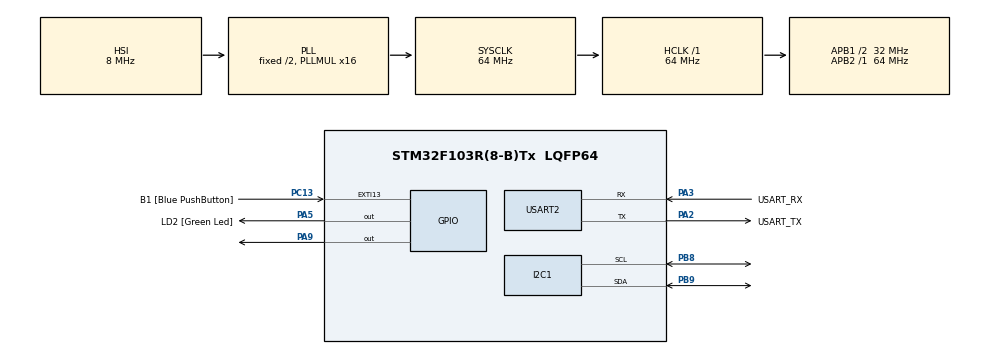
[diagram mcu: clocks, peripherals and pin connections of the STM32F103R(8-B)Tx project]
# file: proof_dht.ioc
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Mcu.Family=STM32F1
Mcu.Name=STM32F103R(8-B)Tx
Mcu.Package=LQFP64
NVIC.EXTI15_10_IRQn=true\:0\:0\:false\:false\:true\:true\:true\:true
NVIC.PriorityGroup=NVIC_PRIORITYGROUP_4
PA1.Signal=S_TIM2_CH2
PA13.GPIO_Label=TMS
PA13.Mode=Serial_Wire
PA13.Signal=SYS_JTMS-SWDIO
PA14.GPIO_Label=TCK
PA14.Mode=Serial_Wire
PA14.Signal=SYS_JTCK-SWCLK
PA2.GPIO_Label=USART_TX
PA2.GPIO_Mode=GPIO_MODE_AF_PP
PA2.GPIO_PuPd=GPIO_NOPULL
PA2.GPIO_Speed=GPIO_SPEED_FREQ_LOW
PA2.Mode=Asynchronous
PA2.Signal=USART2_TX
PA3.GPIO_Label=USART_RX
PA3.GPIO_Mode=GPIO_MODE_AF_PP
PA3.GPIO_PuPd=GPIO_NOPULL
PA3.GPIO_Speed=GPIO_SPEED_FREQ_LOW
PA3.Mode=Asynchronous
PA3.Signal=USART2_RX
PA5.GPIO_Label=LD2 [Green Led]
PA5.GPIO_ModeDefaultOutputPP=GPIO_MODE_OUTPUT_PP
PA5.GPIO_PuPd=GPIO_NOPULL
PA5.GPIO_Speed=GPIO_SPEED_FREQ_LOW
PA5.Signal=GPIO_Output
PA9.Signal=GPIO_Output
PB3.GPIO_Label=SWO
PB3.Signal=SYS_JTDO-TRACESWO
PB8.Mode=I2C
PB8.Signal=I2C1_SCL
PB9.Mode=I2C
PB9.Signal=I2C1_SDA
PC13-TAMPER-RTC.GPIO_Label=B1 [Blue PushButton]
PC13-TAMPER-RTC.GPIO_PuPd=GPIO_NOPULL
PC13-TAMPER-RTC.Signal=GPXTI13
PC14-OSC32_IN.Mode=LSE-External-Oscillator
PC14-OSC32_IN.Signal=RCC_OSC32_IN
PC15-OSC32_OUT.Mode=LSE-External-Oscillator
PC15-OSC32_OUT.Signal=RCC_OSC32_OUT
PD0-OSC_IN.Mode=HSE-External-Clock-Source
PD0-OSC_IN.Signal=RCC_OSC_IN
PD1-OSC_OUT.Mode=HSE-External-Clock-Source
PD1-OSC_OUT.Signal=RCC_OSC_OUT
ProjectManager.HeapSize=0x200
ProjectManager.StackSize=0x400
ProjectManager.TargetToolchain=STM32CubeIDE
RCC.AHBFreq_Value=64000000
RCC.APB1CLKDivider=RCC_HCLK_DIV2
RCC.APB1Freq_Value=32000000
RCC.APB1TimFreq_Value=64000000
RCC.APB2Freq_Value=64000000
RCC.APB2TimFreq_Value=64000000
RCC.HCLKFreq_Value=64000000
RCC.PLLMUL=RCC_PLL_MUL16
RCC.RTCClockSelection=RCC_RTCCLKSOURCE_LSE
RCC.SYSCLKFreq_VALUE=64000000
RCC.SYSCLKSource=RCC_SYSCLKSOURCE_PLLCLK
RCC.USBFreq_Value=64000000
SH.S_TIM2_CH2.0=TIM2_CH2
TIM1.Prescaler=64-1
USART2.VirtualMode=VM_ASYNC
VP_TIM1_VS_ClockSourceINT.Mode=Internal
board=NUCLEO-F103RB

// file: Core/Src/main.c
/* USER CODE BEGIN Header */
/**
  ******************************************************************************
  * @file           : main.c
  * @brief          : Main program body
  ******************************************************************************
  * @attention
  *
  * Copyright (c) 2026 STMicroelectronics.
  * All rights reserved.
  *
  * This software is licensed under terms that can be found in the LICENSE file
  * in the root directory of this software component.
  * If no LICENSE file comes with this software, it is provided AS-IS.
  *
  ******************************************************************************
  */
/* USER CODE END Header */
#include "main.h"
#include "stdio.h"

#include "liquidcrystal_i2c.h"
#include "stm32f1xx_hal.h"

I2C_HandleTypeDef hi2c1;

TIM_HandleTypeDef htim1;

UART_HandleTypeDef huart2;

void SystemClock_Config(void);
static void MX_GPIO_Init(void);
static void MX_USART2_UART_Init(void);
static void MX_I2C1_Init(void);
static void MX_TIM1_Init(void);

/* USER CODE BEGIN 0 */

#define DHT22_PORT GPIOA
#define DHT22_PIN GPIO_PIN_9

void delay (uint16_t time)
{
	/* change your code here for the delay in microseconds */
	__HAL_TIM_SET_COUNTER(&htim1, 0);
	while ((__HAL_TIM_GET_COUNTER(&htim1))<time);
}

void Set_Pin_Output(GPIO_TypeDef *GPIOx, uint16_t GPIO_Pin){
    GPIO_InitTypeDef GPIO_InitStruct = {0};
    GPIO_InitStruct.Pin = GPIO_Pin;
    GPIO_InitStruct.Mode = GPIO_MODE_OUTPUT_OD;  // OPEN DRAIN
    GPIO_InitStruct.Speed = GPIO_SPEED_FREQ_LOW;
    GPIO_InitStruct.Pull = GPIO_NOPULL;
    HAL_GPIO_Init(GPIOx, &GPIO_InitStruct);
}

void Set_Pin_Input(GPIO_TypeDef *GPIOx, uint16_t GPIO_Pin){
    GPIO_InitTypeDef GPIO_InitStruct = {0};
    GPIO_InitStruct.Pin = GPIO_Pin;
    GPIO_InitStruct.Mode = GPIO_MODE_INPUT;
    GPIO_InitStruct.Pull = GPIO_PULLUP;  // Pull-up para open-drain
    HAL_GPIO_Init(GPIOx, &GPIO_InitStruct);
}

void DHT22_Start (void)
{
	Set_Pin_Output(DHT22_PORT, DHT22_PIN);
	HAL_GPIO_WritePin(DHT22_PORT, DHT22_PIN, 0);
	HAL_Delay(20);              // Host baja 20ms

	HAL_GPIO_WritePin(DHT22_PORT, DHT22_PIN, 1);
	delay(5);                   // Pequeño delay en OUTPUT
	Set_Pin_Input(DHT22_PORT, DHT22_PIN);  // ✅ INPUT INMEDIATAMENTE
	delay(25);                  // Espera a respuesta en INPUT
}

uint8_t DHT22_Check_Response(void)
{
	uint8_t Response = 0;
	uint32_t timeout = 0;

	// Esperar pin LOW (sensor responding)
	timeout = 0;
	while ((HAL_GPIO_ReadPin(DHT22_PORT, DHT22_PIN)) && timeout < 200) {
		timeout++;
		delay(5);
	}

	if (timeout >= 200) {
		return 0;  // Sin respuesta
	}

	// Pin está LOW, esperar 80µs
	delay(80);

	// Sensor debe soltar el pin (ir a HIGH)
	if ((HAL_GPIO_ReadPin(DHT22_PORT, DHT22_PIN))) {
		Response = 1;  // ✅ OK
	} else {
		Response = -1;  // Error
	}

	// Sincronizar: esperar a que pin vuelva a LOW
	timeout = 0;
	while ((HAL_GPIO_ReadPin(DHT22_PORT, DHT22_PIN)) && timeout < 1000) {
		timeout++;
		delay(1);
	}

	return Response;
}

uint8_t DHT22_Read (void)
{
	uint8_t i = 0, j = 0;
	for (j=0;j<8;j++)
	{
		while (!(HAL_GPIO_ReadPin (DHT22_PORT, DHT22_PIN)));   // wait for the pin to go high
		delay(40);   // wait for 40 us

		if (!(HAL_GPIO_ReadPin (DHT22_PORT, DHT22_PIN)))   // if the pin is low
		{
			i&= ~(1<<(7-j));   // write 0
		}
		else i|= (1<<(7-j));  // if the pin is high, write 1
		while ((HAL_GPIO_ReadPin (DHT22_PORT, DHT22_PIN)));  // wait for the pin to go low
	}

	return i;
}

uint8_t Presence = 0;
uint8_t CheckSum = 0;
uint8_t pin_state;
uint8_t Rh_byte1, Rh_byte2, Temp_byte1, Temp_byte2;
uint16_t SUM, TEMP, RH;
float Temperature = 0;
float Humidity = 0;

/* USER CODE END 0 */

int main(void)
{

  /* MCU Configuration--------------------------------------------------------*/

  /* Reset of all peripherals, Initializes the Flash interface and the Systick. */
  HAL_Init();

  /* Configure the system clock */
  SystemClock_Config();

  /* Initialize all configured peripherals */
  MX_GPIO_Init();
  MX_USART2_UART_Init();
  MX_I2C1_Init();
  MX_TIM1_Init();
  /* USER CODE BEGIN 2 */

  HAL_TIM_Base_Start(&htim1);
  //HD44780_Init(2);
  //HD44780_Clear();
  //HD44780_Backlight();
  // Después de configurar GPIOA
  // El pin PA9 debe poder leerse como HIGH (por el pull-up) al inicio
  pin_state = HAL_GPIO_ReadPin(GPIOA, GPIO_PIN_9);
  // pin_state debe ser 1 (HIGH)
  /* USER CODE END 2 */

  /* Infinite loop */
  while (1)
  {
      DHT22_Start();
      Presence = DHT22_Check_Response();

      if (Presence != 1) {
          // El sensor no respondió - reintentar
          HAL_Delay(500);
          continue;
      }

      Rh_byte1 = DHT22_Read ();
      Rh_byte2 = DHT22_Read ();
      Temp_byte1 = DHT22_Read ();
      Temp_byte2 = DHT22_Read ();
      SUM = DHT22_Read();

      CheckSum = Rh_byte1 + Rh_byte2 + Temp_byte1 + Temp_byte2;
      if (SUM != CheckSum) {
          HAL_Delay(500);
          continue;  // Datos inválidos, reintentar
      }

      TEMP = ((Temp_byte1<<8)|Temp_byte2);
      RH = ((Rh_byte1<<8)|Rh_byte2);

      Temperature = (float) (TEMP/10.0);
      Humidity = (float) (RH/10.0);

      HAL_Delay(2000);

      //Display_Temp(Temperature);
      //Display_Rh(Humidity);
  }
}

void SystemClock_Config(void)
{
  RCC_OscInitTypeDef RCC_OscInitStruct = {0};
  RCC_ClkInitTypeDef RCC_ClkInitStruct = {0};

  /** Initializes the RCC Oscillators according to the specified parameters
  * in the RCC_OscInitTypeDef structure.
  */
  RCC_OscInitStruct.OscillatorType = RCC_OSCILLATORTYPE_HSI;
  RCC_OscInitStruct.HSIState = RCC_HSI_ON;
  RCC_OscInitStruct.HSICalibrationValue = RCC_HSICALIBRATION_DEFAULT;
  RCC_OscInitStruct.PLL.PLLState = RCC_PLL_ON;
  RCC_OscInitStruct.PLL.PLLSource = RCC_PLLSOURCE_HSI_DIV2;
  RCC_OscInitStruct.PLL.PLLMUL = RCC_PLL_MUL16;
  if (HAL_RCC_OscConfig(&RCC_OscInitStruct) != HAL_OK)
  {
    Error_Handler();
  }

  /** Initializes the CPU, AHB and APB buses clocks
  */
  RCC_ClkInitStruct.ClockType = RCC_CLOCKTYPE_HCLK|RCC_CLOCKTYPE_SYSCLK
                              |RCC_CLOCKTYPE_PCLK1|RCC_CLOCKTYPE_PCLK2;
  RCC_ClkInitStruct.SYSCLKSource = RCC_SYSCLKSOURCE_PLLCLK;
  RCC_ClkInitStruct.AHBCLKDivider = RCC_SYSCLK_DIV1;
  RCC_ClkInitStruct.APB1CLKDivider = RCC_HCLK_DIV2;
  RCC_ClkInitStruct.APB2CLKDivider = RCC_HCLK_DIV1;

  if (HAL_RCC_ClockConfig(&RCC_ClkInitStruct, FLASH_LATENCY_2) != HAL_OK)
  {
    Error_Handler();
  }
}

static void MX_I2C1_Init(void)
{

  hi2c1.Instance = I2C1;
  hi2c1.Init.ClockSpeed = 100000;
  hi2c1.Init.DutyCycle = I2C_DUTYCYCLE_2;
  hi2c1.Init.OwnAddress1 = 0;
  hi2c1.Init.AddressingMode = I2C_ADDRESSINGMODE_7BIT;
  hi2c1.Init.DualAddressMode = I2C_DUALADDRESS_DISABLE;
  hi2c1.Init.OwnAddress2 = 0;
  hi2c1.Init.GeneralCallMode = I2C_GENERALCALL_DISABLE;
  hi2c1.Init.NoStretchMode = I2C_NOSTRETCH_DISABLE;
  if (HAL_I2C_Init(&hi2c1) != HAL_OK)
  {
    Error_Handler();
  }

}

static void MX_TIM1_Init(void)
{

  TIM_ClockConfigTypeDef sClockSourceConfig = {0};
  TIM_MasterConfigTypeDef sMasterConfig = {0};

  htim1.Instance = TIM1;
  htim1.Init.Prescaler = 64-1;
  htim1.Init.CounterMode = TIM_COUNTERMODE_UP;
  htim1.Init.Period = 65535;
  htim1.Init.ClockDivision = TIM_CLOCKDIVISION_DIV1;
  htim1.Init.RepetitionCounter = 0;
  htim1.Init.AutoReloadPreload = TIM_AUTORELOAD_PRELOAD_DISABLE;
  if (HAL_TIM_Base_Init(&htim1) != HAL_OK)
  {
    Error_Handler();
  }
  sClockSourceConfig.ClockSource = TIM_CLOCKSOURCE_INTERNAL;
  if (HAL_TIM_ConfigClockSource(&htim1, &sClockSourceConfig) != HAL_OK)
  {
    Error_Handler();
  }
  sMasterConfig.MasterOutputTrigger = TIM_TRGO_RESET;
  sMasterConfig.MasterSlaveMode = TIM_MASTERSLAVEMODE_DISABLE;
  if (HAL_TIMEx_MasterConfigSynchronization(&htim1, &sMasterConfig) != HAL_OK)
  {
    Error_Handler();
  }

}

static void MX_USART2_UART_Init(void)
{

  huart2.Instance = USART2;
  huart2.Init.BaudRate = 115200;
  huart2.Init.WordLength = UART_WORDLENGTH_8B;
  huart2.Init.StopBits = UART_STOPBITS_1;
  huart2.Init.Parity = UART_PARITY_NONE;
  huart2.Init.Mode = UART_MODE_TX_RX;
  huart2.Init.HwFlowCtl = UART_HWCONTROL_NONE;
  huart2.Init.OverSampling = UART_OVERSAMPLING_16;
  if (HAL_UART_Init(&huart2) != HAL_OK)
  {
    Error_Handler();
  }

}

static void MX_GPIO_Init(void)
{
  GPIO_InitTypeDef GPIO_InitStruct = {0};

  /* GPIO Ports Clock Enable */
  __HAL_RCC_GPIOC_CLK_ENABLE();
  __HAL_RCC_GPIOD_CLK_ENABLE();
  __HAL_RCC_GPIOA_CLK_ENABLE();
  __HAL_RCC_GPIOB_CLK_ENABLE();

  /*Configure GPIO pin Output Level */
  HAL_GPIO_WritePin(GPIOA, LD2_Pin, GPIO_PIN_RESET);

  /*Configure GPIO pin : B1_Pin */
  GPIO_InitStruct.Pin = B1_Pin;
  GPIO_InitStruct.Mode = GPIO_MODE_IT_RISING;
  GPIO_InitStruct.Pull = GPIO_NOPULL;
  HAL_GPIO_Init(B1_GPIO_Port, &GPIO_InitStruct);

  /*Configure GPIO pin : PA1 */
  GPIO_InitStruct.Pin = GPIO_PIN_1;
  GPIO_InitStruct.Mode = GPIO_MODE_AF_PP;
  GPIO_InitStruct.Speed = GPIO_SPEED_FREQ_LOW;
  HAL_GPIO_Init(GPIOA, &GPIO_InitStruct);

  /*Configure GPIO pins : LD2_Pin */
  GPIO_InitStruct.Pin = LD2_Pin;
  GPIO_InitStruct.Mode = GPIO_MODE_OUTPUT_PP;
  GPIO_InitStruct.Pull = GPIO_NOPULL;
  GPIO_InitStruct.Speed = GPIO_SPEED_FREQ_LOW;
  HAL_GPIO_Init(GPIOA, &GPIO_InitStruct);

  /* EXTI interrupt init*/
  HAL_NVIC_SetPriority(EXTI15_10_IRQn, 0, 0);
  HAL_NVIC_EnableIRQ(EXTI15_10_IRQn);

}

void Error_Handler(void)
{
  __disable_irq();
  while (1)
  {
  }
}
